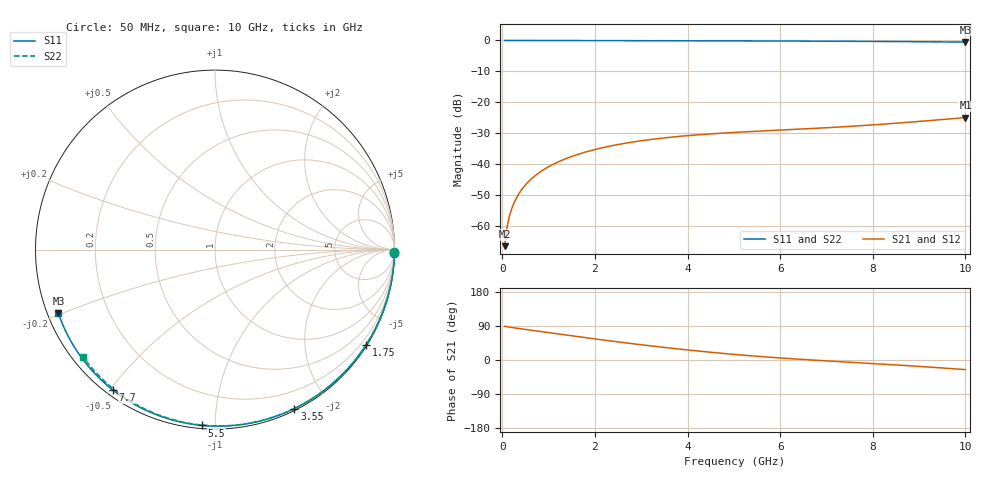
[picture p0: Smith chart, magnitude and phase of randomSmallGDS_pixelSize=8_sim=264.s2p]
! freq	dB(S11)	phase(S11)	dB(S12)	phase(S12)
!  dB(S21)	phase(S21)	dB(S22)	phase(S22)
!S-par simulation data
#  GHz  S  DB  R 50
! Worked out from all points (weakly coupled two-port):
!   200 points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, 50 MHz to 10 GHz, reference 50 ohm
!   highest |S21| = -24.96 dB at 10 GHz (marker M1); lowest = -66.5 dB at 50 MHz (marker M2)
!   lowest |S11| = -0.5 dB at 10 GHz (marker M3), VSWR 33.45, Z = 1.55 - j9.79 ohm
!   |S11| at or under -10 dB: nowhere
!   |S22| runs from -0.5 to 0.0 dB; largest |S21 - S12| = 0
!   S11 on the Smith chart (normalised r, x): 50 MHz: open; 1.75 GHz: 0.03, -3.46; 3.55 GHz: 0.02, -1.62; 5.5 GHz: 0.02, -0.93; 7.7 GHz: 0.02, -0.51; 10 GHz: 0.03, -0.20
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0.05  -0.00 -0.9  -66.52 88.9  -66.52 88.9  -0.00 -0.8
0.1  -0.00 -1.9  -60.52 87.8  -60.52 87.8  -0.00 -1.7
0.15  -0.00 -2.8  -57.02 86.8  -57.02 86.8  -0.00 -2.5
0.2  -0.00 -3.8  -54.55 85.9  -54.55 85.9  -0.00 -3.3
0.25  -0.00 -4.7  -52.63 85.0  -52.63 85.0  -0.00 -4.2
0.35  -0.00 -6.6  -49.75 83.2  -49.75 83.2  -0.00 -5.8
0.5  -0.01 -9.4  -46.70 80.7  -46.70 80.7  -0.01 -8.3
0.7  -0.01 -13.1  -43.84 77.3  -43.84 77.3  -0.01 -11.6
1  -0.02 -18.6  -40.83 72.2  -40.83 72.2  -0.02 -16.5
1.35  -0.03 -25.0  -38.35 66.3  -38.35 66.3  -0.03 -22.2
1.75  -0.04 -32.3  -36.29 59.7  -36.29 59.7  -0.04 -28.6
2.5  -0.06 -45.6  -33.65 47.7  -33.65 47.7  -0.05 -40.5
3.4  -0.08 -61.0  -31.67 34.5  -31.67 34.5  -0.07 -54.2
3.55  -0.09 -63.5  -31.42 32.4  -31.42 32.4  -0.08 -56.5
4.3  -0.11 -75.7  -30.43 22.8  -30.43 22.8  -0.10 -67.5
5.05  -0.14 -87.5  -29.71 14.3  -29.71 14.3  -0.12 -78.1
5.5  -0.16 -94.3  -29.35 9.9  -29.35 9.9  -0.14 -84.3
6.7  -0.22 -111.9  -28.47 -0.2  -28.47 -0.2  -0.20 -100.2
7.7  -0.29 -126.0  -27.60 -7.2  -27.60 -7.2  -0.26 -112.9
8.35  -0.34 -135.0  -26.93 -11.9  -26.93 -11.9  -0.31 -120.9
9.2  -0.43 -146.7  -25.94 -18.5  -25.94 -18.5  -0.39 -131.2
10  -0.52 -157.8  -24.96 -25.5  -24.96 -25.5  -0.47 -140.8
